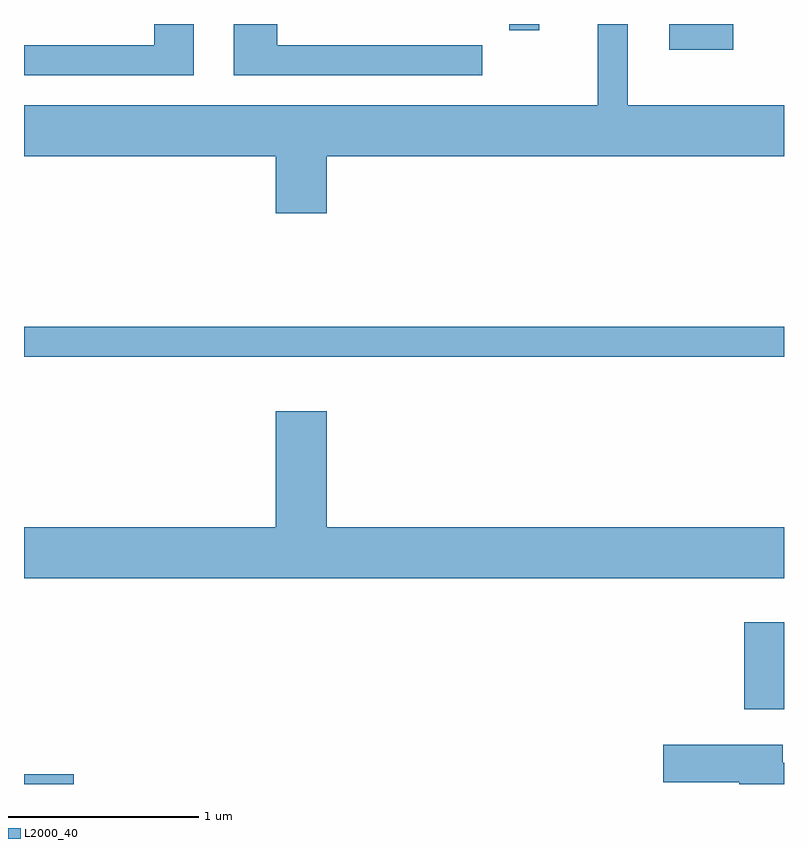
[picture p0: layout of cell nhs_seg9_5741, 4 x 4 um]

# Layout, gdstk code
import gdstk
lib = gdstk.Library(unit=1e-6, precision=1e-09)
def R(c, l, rs):  # rectangles x0, y0, x1, y1
    for r in rs: c.add(gdstk.rectangle(r[:2], r[2:], *l))
def P(c, l, *ps):  # polygons
    for p in ps: c.add(gdstk.Polygon(p, *l))
L2000_40 = (2000, 40)

nhs_seg9_5741 = lib.new_cell('nhs_seg9_5741')
R(nhs_seg9_5741, L2000_40, [(353.611,2068.432,353.874,2068.484), (357.401,2068.826,357.611,2069.284), (353.611,2070.681,357.611,2070.839), (357.006,2072.296,357.344,2072.432), (356.166,2072.398,356.324,2072.432)])
P(nhs_seg9_5741, L2000_40, [(355.204,2071.736),(357.611,2071.736),(357.611,2072.004),(356.789,2072.004),(356.789,2072.432),(356.631,2072.432),(356.631,2072.004),(353.611,2072.004),(353.611,2071.736),(354.936,2071.736),(354.936,2071.436),(355.204,2071.436)],
  [(356.023,2072.319),(354.944,2072.319),(354.944,2072.432),(354.716,2072.432),(354.716,2072.161),(356.023,2072.161)],
  [(354.504,2072.432),(354.296,2072.432),(354.296,2072.319),(353.611,2072.319),(353.611,2072.161),(354.504,2072.161)],
  [(357.611,2069.784),(355.204,2069.784),(355.204,2070.394),(354.936,2070.394),(354.936,2069.784),(353.611,2069.784),(353.611,2069.516),(357.611,2069.516)],
  [(357.611,2068.544),(357.604,2068.544),(357.604,2068.639),(356.976,2068.639),(356.976,2068.441),(357.376,2068.441),(357.376,2068.432),(357.611,2068.432)])

lib.write_gds('nhs_seg9_5741.gds')
